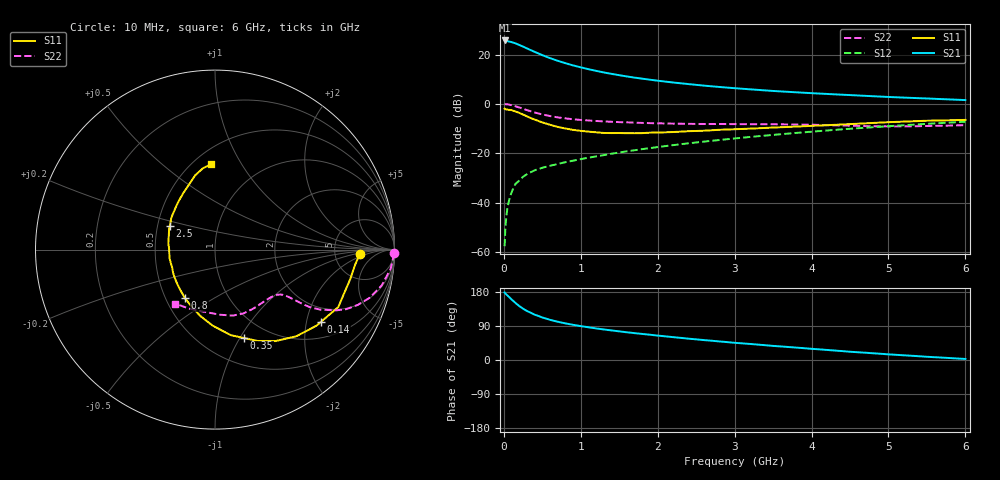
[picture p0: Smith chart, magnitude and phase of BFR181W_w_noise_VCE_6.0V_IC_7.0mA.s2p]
! Infineon Technologies  Discrete & RF Semiconductors
! BFR181W
! VCE =  6.0 V,  IC =  7.0 mA
! Common Emitter S-Parameters:  Jan 2017
# GHz  S  MA  R  50
!  f  S11  S21  S12  S22
! GHz  MAG  ANG  MAG  ANG  MAG  ANG  MAG  ANG
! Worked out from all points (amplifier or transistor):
!   77 points, 10 MHz to 6 GHz, reference 50 ohm
!   highest |S21| = 25.8 dB at 10 MHz (marker M1)
!   |S21| within 3 dB of that: start of sweep to 284.5 MHz
!   unconditionally stable (mu >= 1): 1.185 GHz to 3.187 GHz
!   at 130 MHz: K = 0.21, MSG = 29.3 dB, |S12| = -33.7 dB
!   at 2.2 GHz: K = 1.06, MAG = 11.2 dB, |S12| = -16.7 dB
!   at 6 GHz: K = 0.85, MSG = 4.4 dB, |S12| = -7.2 dB
!   lowest NFmin = 1.08 dB at 450 MHz
!   S11 on the Smith chart (normalised r, x): 10 MHz: 9.17, -1.26; 140 MHz: 1.48, -2.44; 350 MHz: 0.77, -1.05; 800 MHz: 0.63, -0.38; 2.5 GHz: 0.58, +0.16; 6 GHz: 0.61, +0.75
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0.01  0.8067 -1.7  19.55 178.3  0.0013 92.4  0.9959 -1.2
0.02  0.7848 -6.3  19.18 175.4  0.003 95.5  0.9945 -2.4
0.04  0.7744 -10.4  19 171.6  0.0065 85.2  0.9869 -5.0
0.1  0.7577 -25.0  18.14 159.7  0.016 79.1  0.9504 -12.1
0.14  0.7145 -34.3  17.28 152.7  0.0221 73.5  0.9128 -16.1
0.2  0.6624 -46.8  15.86 142.4  0.0279 68.6  0.8529 -21.2
0.25  0.6112 -56.5  14.68 135.4  0.0334 65.1  0.8029 -24.4
0.3  0.5616 -65.0  13.48 129.3  0.0376 62.7  0.7537 -26.7
0.35  0.5193 -71.7  12.44 124.8  0.0413 61.3  0.714 -28.1
0.4  0.4853 -79.4  11.49 119.6  0.0451 60.1  0.6748 -29.7
0.5  0.4247 -91.6  9.837 112.2  0.0508 59.3  0.6145 -31.3
0.6  0.379 -102.4  8.573 106.1  0.0557 58.4  0.5702 -31.9
0.7  0.3431 -112.3  7.553 101.0  0.0606 60.0  0.5362 -32.2
0.8  0.3187 -121.7  6.762 96.6  0.066 60.5  0.5115 -32.5
1.1  0.2751 -144.2  5.105 86.4  0.0815 61.6  0.464 -33.3
1.6  0.2561 -173.9  3.631 73.1  0.1099 63.9  0.4252 -36.8
2.1  0.2667 165.6  2.857 62.4  0.14 64.0  0.4033 -43.2
2.5  0.284 152.8  2.453 54.5  0.1659 63.3  0.395 -49.5
3.1  0.3121 137.1  2.045 43.9  0.2073 61.3  0.3904 -59.5
4.1  0.366 117.8  1.632 28.1  0.2824 55.6  0.3765 -76.9
5.1  0.4342 103.5  1.372 13.7  0.3629 47.8  0.3513 -101.7
6  0.4766 92.4  1.204 2.7  0.4374 39.5  0.3736 -126.2
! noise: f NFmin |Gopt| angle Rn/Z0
0.45  1.08  0.24  17  0.22
0.9  1.13  0.22  31  0.21
1.9  1.55  0.09  86  0.19
2.4  1.7  0.08  96  0.23
